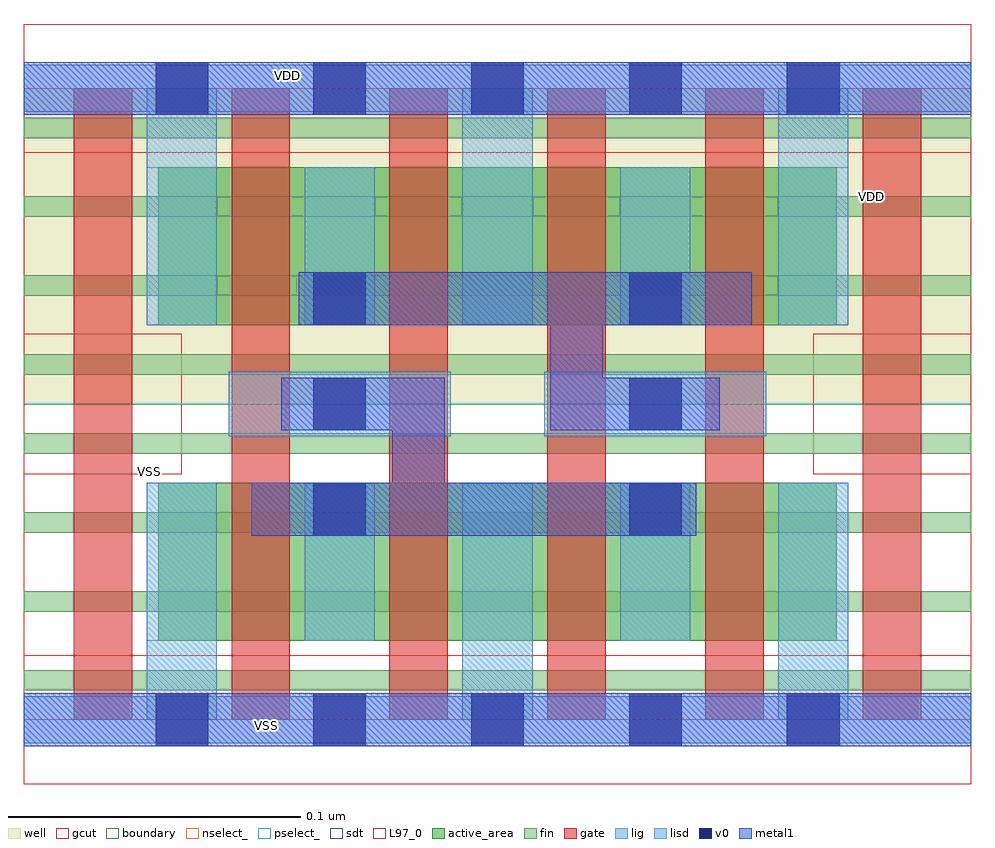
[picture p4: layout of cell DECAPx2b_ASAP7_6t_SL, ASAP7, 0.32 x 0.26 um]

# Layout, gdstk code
import gdstk
lib = gdstk.Library(unit=1e-6, precision=2.5e-10)
def R(c, l, rs):  # rectangles x0, y0, x1, y1
    for r in rs: c.add(gdstk.rectangle(r[:2], r[2:], *l))
def A(c, l, x, y, w, h, nx, ny, dx, dy):  # array of equal rectangles
    R(c, l, [(x+i*dx, y+j*dy, x+i*dx+w, y+j*dy+h) for i in range(nx) for j in range(ny)])
def P(c, l, *ps):  # polygons
    for p in ps: c.add(gdstk.Polygon(p, *l))
well = (1, 0)
fin = (2, 0)
gate = (7, 0)
gcut = (10, 0)
active_area = (11, 0)
nselect_ = (12, 0)
pselect_ = (13, 0)
lig = (16, 0)
lisd = (17, 0)
v0 = (18, 0)
metal1 = (19, 0)
sdt = (88, 0)
L97_0 = (97, 0)
boundary = (100, 0)

decapx2b_asap7_6t_sl = lib.new_cell('DECAPx2b_ASAP7_6t_SL')
R(decapx2b_asap7_6t_sl, well, [(0,0.108,0.324,0.216)])
A(decapx2b_asap7_6t_sl, fin, 0, 0.01, 0.324, 0.007, 1, 8, 0, 0.027)
A(decapx2b_asap7_6t_sl, gate, 0.017, 0, 0.02, 0.216, 6, 1, 0.054, 0)
R(decapx2b_asap7_6t_sl, gcut, [(0,-0.022,0.324,0.022), (0,0.084,0.054,0.132), (0.27,0.084,0.324,0.132), (0,0.194,0.324,0.238)])
R(decapx2b_asap7_6t_sl, active_area, [(0.046,0.027,0.278,0.081), (0.046,0.135,0.278,0.189)])
R(decapx2b_asap7_6t_sl, nselect_, [(0,0,0.324,0.108)])
R(decapx2b_asap7_6t_sl, pselect_, [(0,0.108,0.324,0.216)])
R(decapx2b_asap7_6t_sl, lig, [(0,-0.008,0.324,0.008), (0.07,0.097,0.146,0.119), (0.178,0.097,0.254,0.119), (0,0.208,0.324,0.224)])
A(decapx2b_asap7_6t_sl, lisd, 0.042, 0, 0.024, 0.081, 3, 2, 0.108, 0.135)
R(decapx2b_asap7_6t_sl, lisd, [(0.096,0.027,0.12,0.081), (0.204,0.027,0.228,0.081), (0.096,0.135,0.12,0.189), (0.204,0.135,0.228,0.189)])
A(decapx2b_asap7_6t_sl, v0, 0.045, -0.009, 0.018, 0.018, 5, 2, 0.054, 0.216)
A(decapx2b_asap7_6t_sl, v0, 0.099, 0.063, 0.018, 0.018, 1, 3, 0, 0.036)
A(decapx2b_asap7_6t_sl, v0, 0.207, 0.063, 0.018, 0.018, 1, 3, 0, 0.036)
R(decapx2b_asap7_6t_sl, metal1, [(0,-0.009,0.324,0.009), (0,0.207,0.324,0.225)])
P(decapx2b_asap7_6t_sl, metal1, [(0.249,0.153),(0.094,0.153),(0.094,0.135),(0.18,0.135),(0.18,0.099),(0.238,0.099),(0.238,0.117),(0.198,0.117),(0.198,0.135),(0.249,0.135)],
  [(0.23,0.081),(0.144,0.081),(0.144,0.117),(0.088,0.117),(0.088,0.099),(0.126,0.099),(0.126,0.081),(0.078,0.081),(0.078,0.063),(0.23,0.063)])
A(decapx2b_asap7_6t_sl, sdt, 0.042, 0.027, 0.024, 0.054, 5, 2, 0.054, 0.108)
R(decapx2b_asap7_6t_sl, L97_0, [(0,0,0.324,0.216)])
R(decapx2b_asap7_6t_sl, boundary, [(0,0,0.324,0.216)])
decapx2b_asap7_6t_sl.add(gdstk.Label('VDD', (0.09,0.2205), layer=19, texttype=251))
decapx2b_asap7_6t_sl.add(gdstk.Label('VSS', (0.083,-0.002), layer=19, texttype=251))
decapx2b_asap7_6t_sl.add(gdstk.Label('VSS', (0.043,0.085), layer=3, texttype=251))
decapx2b_asap7_6t_sl.add(gdstk.Label('VDD', (0.29,0.179), layer=1, texttype=251))

lib.write_gds('DECAPx2b_ASAP7_6t_SL.gds')
